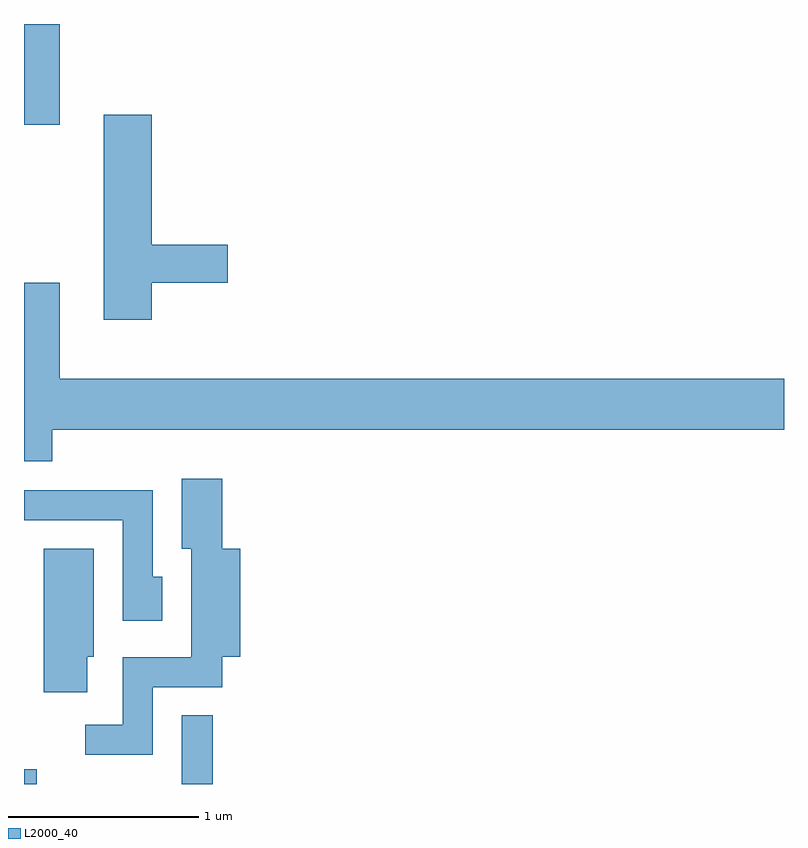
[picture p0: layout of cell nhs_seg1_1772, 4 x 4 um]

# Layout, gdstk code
import gdstk
lib = gdstk.Library(unit=1e-6, precision=1e-09)
def R(c, l, rs):  # rectangles x0, y0, x1, y1
    for r in rs: c.add(gdstk.rectangle(r[:2], r[2:], *l))
def P(c, l, *ps):  # polygons
    for p in ps: c.add(gdstk.Polygon(p, *l))
L2000_40 = (2000, 40)

nhs_seg1_1772 = lib.new_cell('nhs_seg1_1772')
R(nhs_seg1_1772, L2000_40, [(239.611,897.712,239.679,897.789), (240.441,897.712,240.604,898.073), (239.611,901.181,239.799,901.712)])
P(nhs_seg1_1772, L2000_40, [(240.284,900.351),(240.684,900.351),(240.684,900.549),(240.284,900.549),(240.284,901.234),(240.031,901.234),(240.031,900.156),(240.284,900.156)],
  [(239.759,899.576),(243.611,899.576),(243.611,899.844),(239.799,899.844),(239.799,900.349),(239.611,900.349),(239.611,899.411),(239.759,899.411)],
  [(240.289,898.221),(240.654,898.221),(240.654,898.381),(240.749,898.381),(240.749,898.949),(240.654,898.949),(240.654,899.319),(240.441,899.319),(240.441,898.951),(240.491,898.951),(240.491,898.379),(240.131,898.379),(240.131,898.024),(239.933,898.024),(239.933,897.866),(240.289,897.866)],
  [(240.339,898.804),(240.289,898.804),(240.289,899.259),(239.611,899.259),(239.611,899.101),(240.131,899.101),(240.131,898.571),(240.339,898.571)],
  [(239.944,898.381),(239.979,898.381),(239.979,898.949),(239.716,898.949),(239.716,898.196),(239.944,898.196)])

lib.write_gds('nhs_seg1_1772.gds')
